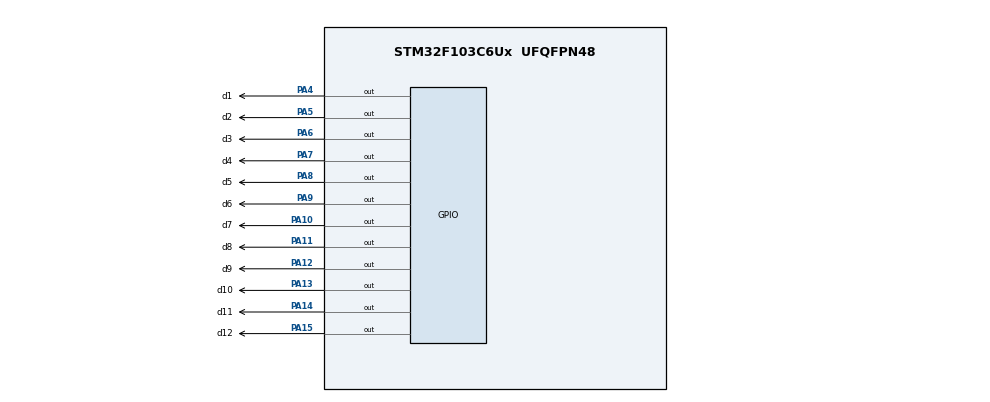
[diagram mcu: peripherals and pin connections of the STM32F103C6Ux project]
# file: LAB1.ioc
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Mcu.Family=STM32F1
Mcu.Name=STM32F103C6Ux
Mcu.Package=UFQFPN48
NVIC.PriorityGroup=NVIC_PRIORITYGROUP_4
PA10.GPIO_Label=d7
PA10.Signal=GPIO_Output
PA11.GPIO_Label=d8
PA11.Signal=GPIO_Output
PA12.GPIO_Label=d9
PA12.Signal=GPIO_Output
PA13.GPIO_Label=d10
PA13.Signal=GPIO_Output
PA14.GPIO_Label=d11
PA14.Signal=GPIO_Output
PA15.GPIO_Label=d12
PA15.Signal=GPIO_Output
PA4.GPIO_Label=d1
PA4.Signal=GPIO_Output
PA5.GPIO_Label=d2
PA5.Signal=GPIO_Output
PA6.GPIO_Label=d3
PA6.Signal=GPIO_Output
PA7.GPIO_Label=d4
PA7.Signal=GPIO_Output
PA8.GPIO_Label=d5
PA8.Signal=GPIO_Output
PA9.GPIO_Label=d6
PA9.Signal=GPIO_Output
ProjectManager.HeapSize=0x200
ProjectManager.StackSize=0x400
ProjectManager.TargetToolchain=STM32CubeIDE
RCC.APB1Freq_Value=8000000
RCC.APB2Freq_Value=8000000
board=custom

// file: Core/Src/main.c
/* USER CODE BEGIN Header */
/**
  ******************************************************************************
  * @file           : main.c
  * @brief          : Main program body
  ******************************************************************************
  * @attention
  *
  * Copyright (c) 2024 STMicroelectronics.
  * All rights reserved.
  *
  * This software is licensed under terms that can be found in the LICENSE file
  * in the root directory of this software component.
  * If no LICENSE file comes with this software, it is provided AS-IS.
  *
  ******************************************************************************
  */
/* USER CODE END Header */
#include "main.h"

void SystemClock_Config(void);
static void MX_GPIO_Init(void);

int main(void)
{

  /* USER CODE BEGIN 1 */

	void clearAllClock(){
		  HAL_GPIO_WritePin(d1_GPIO_Port , d1_Pin, RESET);
		  HAL_GPIO_WritePin(d2_GPIO_Port , d2_Pin, RESET);
		  HAL_GPIO_WritePin(d3_GPIO_Port , d3_Pin, RESET);
		  HAL_GPIO_WritePin(d4_GPIO_Port , d4_Pin, RESET);
		  HAL_GPIO_WritePin(d5_GPIO_Port , d5_Pin, RESET);
		  HAL_GPIO_WritePin(d6_GPIO_Port , d6_Pin, RESET);
		  HAL_GPIO_WritePin(d7_GPIO_Port , d7_Pin, RESET);
		  HAL_GPIO_WritePin(d8_GPIO_Port , d8_Pin, RESET);
		  HAL_GPIO_WritePin(d9_GPIO_Port , d9_Pin, RESET);
		  HAL_GPIO_WritePin(d10_GPIO_Port , d10_Pin, RESET);
		  HAL_GPIO_WritePin(d11_GPIO_Port , d11_Pin, RESET);
		  HAL_GPIO_WritePin(d12_GPIO_Port , d12_Pin, RESET);
	}
	void setNumberOnClock(int num){
		switch(num){
		case 1:
			HAL_GPIO_WritePin(d1_GPIO_Port , d1_Pin, SET);
			break;
		case 2:
			HAL_GPIO_WritePin(d2_GPIO_Port , d2_Pin, SET);
			break;
		case 3:
			HAL_GPIO_WritePin(d3_GPIO_Port , d3_Pin, SET);
			break;
		case 4:
			HAL_GPIO_WritePin(d4_GPIO_Port , d4_Pin, SET);
			break;
		case 5:
			HAL_GPIO_WritePin(d5_GPIO_Port , d5_Pin, SET);
			break;
		case 6:
			HAL_GPIO_WritePin(d6_GPIO_Port , d6_Pin, SET);
			break;
		case 7:
			HAL_GPIO_WritePin(d7_GPIO_Port , d7_Pin, SET);
			break;
		case 8:
			HAL_GPIO_WritePin(d8_GPIO_Port , d8_Pin, SET);
			break;
		case 9:
			HAL_GPIO_WritePin(d9_GPIO_Port , d9_Pin, SET);
			break;
		case 10:
			HAL_GPIO_WritePin(d10_GPIO_Port , d10_Pin, SET);
			break;
		case 11:
			HAL_GPIO_WritePin(d11_GPIO_Port , d11_Pin, SET);
			break;
		case 0:
			HAL_GPIO_WritePin(d12_GPIO_Port , d12_Pin, SET);
			break;
		default:
			break;
		}
	}

	void clearNumberOnClock(int num){
			switch(num){
			case 1:
				HAL_GPIO_WritePin(d1_GPIO_Port , d1_Pin, RESET);
				break;
			case 2:
				HAL_GPIO_WritePin(d2_GPIO_Port , d2_Pin, RESET);
				break;
			case 3:
				HAL_GPIO_WritePin(d3_GPIO_Port , d3_Pin, RESET);
				break;
			case 4:
				HAL_GPIO_WritePin(d4_GPIO_Port , d4_Pin, RESET);
				break;
			case 5:
				HAL_GPIO_WritePin(d5_GPIO_Port , d5_Pin, RESET);
				break;
			case 6:
				HAL_GPIO_WritePin(d6_GPIO_Port , d6_Pin, RESET);
				break;
			case 7:
				HAL_GPIO_WritePin(d7_GPIO_Port , d7_Pin, RESET);
				break;
			case 8:
				HAL_GPIO_WritePin(d8_GPIO_Port , d8_Pin, RESET);
				break;
			case 9:
				HAL_GPIO_WritePin(d9_GPIO_Port , d9_Pin, RESET);
				break;
			case 10:
				HAL_GPIO_WritePin(d10_GPIO_Port , d10_Pin, RESET);
				break;
			case 11:
				HAL_GPIO_WritePin(d11_GPIO_Port , d11_Pin, RESET);
				break;
			case 0:
				HAL_GPIO_WritePin(d12_GPIO_Port , d12_Pin, RESET);
				break;
			default:
				break;
			}
		}

  /* USER CODE END 1 */

  /* MCU Configuration--------------------------------------------------------*/

  /* Reset of all peripherals, Initializes the Flash interface and the Systick. */
  HAL_Init();

  /* Configure the system clock */
  SystemClock_Config();

  /* Initialize all configured peripherals */
  MX_GPIO_Init();

  /* Infinite loop */
  /* USER CODE BEGIN WHILE */
  int  hour=0, minute=0, second=0;

  while (1)
  {
    /* USER CODE END WHILE */
	  if(second >= 60){
		  second=0;
		  clearNumberOnClock(second/5);
		  ++minute;
	  }

	  if(minute >=60){
		  minute=0;
		  clearNumberOnClock(hour/5);
		  ++hour;
	  }

	  if(hour>=12) hour=0;

	  clearAllClock();
	  setNumberOnClock(second/5);
	  setNumberOnClock(minute/5);
	  setNumberOnClock(hour);
	  HAL_Delay(50);
	  clearNumberOnClock(second/5);
	  ++second;

  }
}

void SystemClock_Config(void)
{
  RCC_OscInitTypeDef RCC_OscInitStruct = {0};
  RCC_ClkInitTypeDef RCC_ClkInitStruct = {0};

  /** Initializes the RCC Oscillators according to the specified parameters
  * in the RCC_OscInitTypeDef structure.
  */
  RCC_OscInitStruct.OscillatorType = RCC_OSCILLATORTYPE_HSI;
  RCC_OscInitStruct.HSIState = RCC_HSI_ON;
  RCC_OscInitStruct.HSICalibrationValue = RCC_HSICALIBRATION_DEFAULT;
  RCC_OscInitStruct.PLL.PLLState = RCC_PLL_NONE;
  if (HAL_RCC_OscConfig(&RCC_OscInitStruct) != HAL_OK)
  {
    Error_Handler();
  }

  /** Initializes the CPU, AHB and APB buses clocks
  */
  RCC_ClkInitStruct.ClockType = RCC_CLOCKTYPE_HCLK|RCC_CLOCKTYPE_SYSCLK
                              |RCC_CLOCKTYPE_PCLK1|RCC_CLOCKTYPE_PCLK2;
  RCC_ClkInitStruct.SYSCLKSource = RCC_SYSCLKSOURCE_HSI;
  RCC_ClkInitStruct.AHBCLKDivider = RCC_SYSCLK_DIV1;
  RCC_ClkInitStruct.APB1CLKDivider = RCC_HCLK_DIV1;
  RCC_ClkInitStruct.APB2CLKDivider = RCC_HCLK_DIV1;

  if (HAL_RCC_ClockConfig(&RCC_ClkInitStruct, FLASH_LATENCY_0) != HAL_OK)
  {
    Error_Handler();
  }
}

static void MX_GPIO_Init(void)
{
  GPIO_InitTypeDef GPIO_InitStruct = {0};

  /* GPIO Ports Clock Enable */
  __HAL_RCC_GPIOA_CLK_ENABLE();

  /*Configure GPIO pin Output Level */
  HAL_GPIO_WritePin(GPIOA, d1_Pin|d2_Pin|d3_Pin|d4_Pin
                          |d5_Pin|d6_Pin|d7_Pin|d8_Pin
                          |d9_Pin|d10_Pin|d11_Pin|d12_Pin, GPIO_PIN_RESET);

  /*Configure GPIO pins : d1_Pin d2_Pin d3_Pin d4_Pin
                           d5_Pin d6_Pin d7_Pin d8_Pin
                           d9_Pin d10_Pin d11_Pin d12_Pin */
  GPIO_InitStruct.Pin = d1_Pin|d2_Pin|d3_Pin|d4_Pin
                          |d5_Pin|d6_Pin|d7_Pin|d8_Pin
                          |d9_Pin|d10_Pin|d11_Pin|d12_Pin;
  GPIO_InitStruct.Mode = GPIO_MODE_OUTPUT_PP;
  GPIO_InitStruct.Pull = GPIO_NOPULL;
  GPIO_InitStruct.Speed = GPIO_SPEED_FREQ_LOW;
  HAL_GPIO_Init(GPIOA, &GPIO_InitStruct);

}

void Error_Handler(void)
{
  __disable_irq();
  while (1)
  {
  }
}
